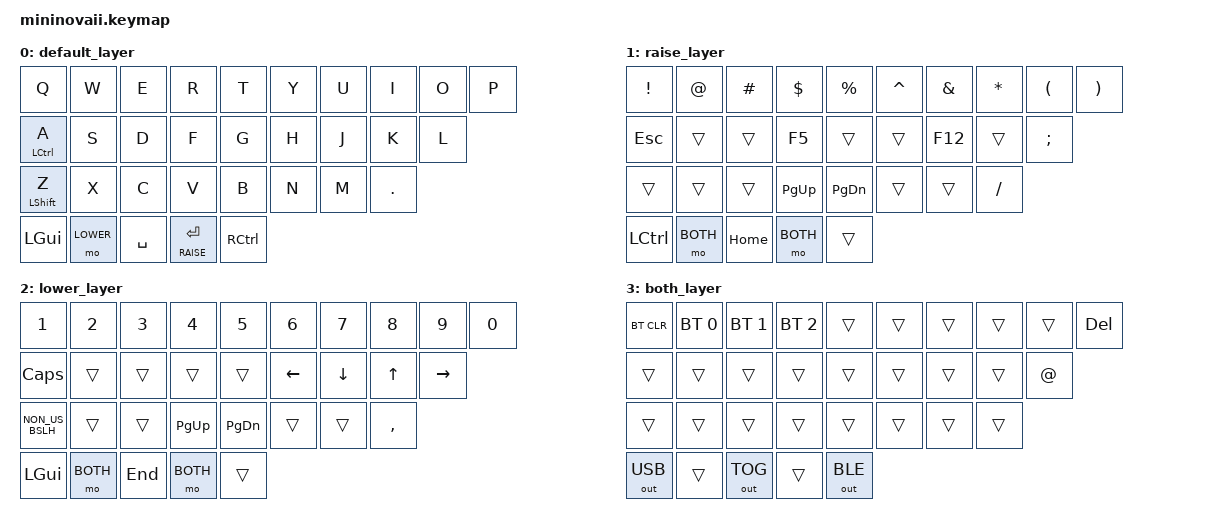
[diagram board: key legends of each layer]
/*
 * Copyright (c) 2021 The ZMK Contributors
 *
 * SPDX-License-Identifier: MIT
 */

#include <behaviors.dtsi>
#include <dt-bindings/zmk/keys.h>
#include <dt-bindings/zmk/bt.h>
#include <dt-bindings/zmk/outputs.h>

#define DEFAULT  0
#define RAISE    1
#define LOWER    2
#define BOTH     3

// -----------------------------------
// | TAB:TAB |    |    |    |    |   -:-  =:=  <:<   |   (< = bksp)
// | ESC:ESC |    |    |    |    |    |   #:#   |
// |    |    |    |    |    |    |    |    |
//           |    |    |         |    |    |

/ {
    combos {
        compatible = "zmk,combos";

        combo_tab {
            timeout-ms = <50>;
            key-positions = <0 1>;
            bindings = <&kp TAB>;
        };

        combo_esc {
            timeout-ms = <50>;
            key-positions = <10 11>;
            bindings = <&kp ESC>;
        };

        combo_dash {
            timeout-ms = <50>;
            key-positions = <6 7>;
            bindings = <&kp MINUS>;
        };

        combo_eq {
            timeout-ms = <50>;
            key-positions = <7 8>;
            bindings = <&kp EQUAL>;
        };

        combo_bksp {
            timeout-ms = <50>;
            key-positions = <8 9>;
            bindings = <&kp BSPC>;
        };

        combo_hash {
            timeout-ms = <50>;
            key-positions = <17 18>;
            bindings = <&kp NON_US_HASH>;
        };

    };
};

/ {
    keymap {
        compatible = "zmk,keymap";

        default_layer {
            bindings = <
    &kp Q      &kp W       &kp E      &kp R           &kp T      &kp Y     &kp U   &kp I     &kp O     &kp P
    &mt LCTRL A      &kp S       &kp D      &kp F           &kp G      &kp H     &kp J   &kp K     &kp L
    &mt LSHIFT Z      &kp X       &kp C      &kp V           &kp B      &kp N     &kp M   &kp DOT
    &kp LGUI &mo LOWER   &kp SPACE  &lt RAISE ENTER &kp RCTRL
            >;
        };

        raise_layer {
            bindings = <
    &kp EXCL    &kp AT    &kp POUND     &kp DLLR     &kp PRCNT     &kp CARET  &kp AMPS  &kp ASTRK  &kp LPAR    &kp RPAR
    &kp ESC    &trans    &trans     &kp F5     &trans     &trans  &kp F12   &trans    &kp SEMI
    &trans     &trans    &trans     &kp PG_UP  &kp PG_DN  &trans  &trans    &kp FSLH
    &kp LCTRL  &mo BOTH  &kp HOME   &mo BOTH   &trans
            >;
        };

        lower_layer {
            bindings = <
    &kp N1          &kp N2    &kp N3   &kp N4     &kp N5     &kp N6    &kp N7    &kp N8    &kp N9    &kp N0
    &kp CAPS        &trans    &trans   &trans     &trans     &kp LEFT  &kp DOWN  &kp UP    &kp RIGHT
    &kp NON_US_BSLH &trans    &trans   &kp PG_UP  &kp PG_DN  &trans    &trans    &kp COMMA
    &kp LGUI        &mo BOTH  &kp END  &mo BOTH   &trans
            >;
        };

        both_layer {
            bindings = <
    &bt BT_CLR   &bt BT_SEL 0 &bt BT_SEL 1 &bt BT_SEL 2 &trans  &trans  &trans  &trans &trans &kp DEL
    &trans       &trans       &trans       &trans       &trans  &trans  &trans  &trans &kp AT
    &trans       &trans       &trans       &trans       &trans  &trans  &trans  &trans
    &out OUT_USB &trans       &out OUT_TOG &trans       &out OUT_BLE
            >;
        };

    };
};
